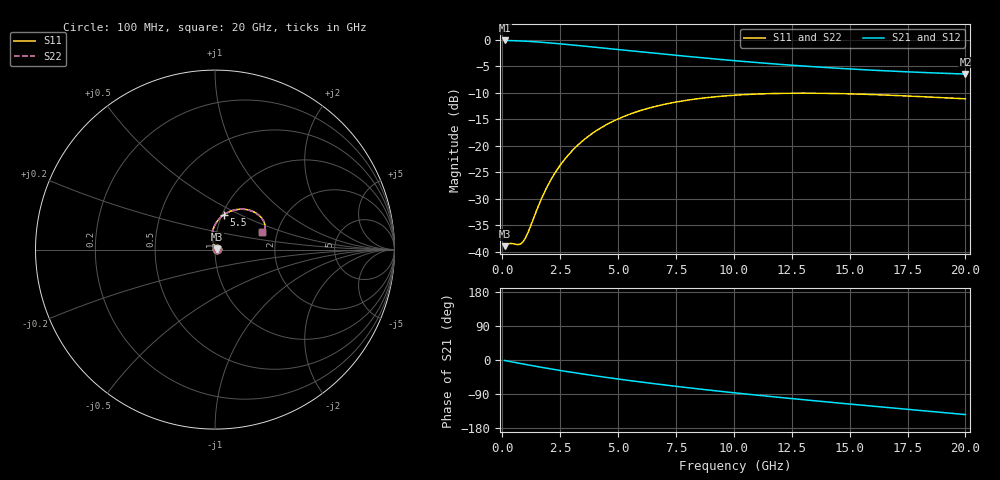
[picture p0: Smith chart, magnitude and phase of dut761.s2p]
! Touchstone file exported from HFSS 2024.1.0
!  File:  C:/UserFiles/LocalFiles/RDL_TSV_Batchsim/temp_RDL_TSV_761_1779900391.aedt
!  Generated:  01:03:55 AM May 28, 2026
!  Design:  RDL_TSV
!  Project:  temp_RDL_TSV_761_1779900391
!  Setup:  Setup1
!  Solution:  Sweep
! Variables:
!  dtsv = 6.99um
!  hbump = 3um
!  htsv = 68.48um
!  ldown = 347.83um
!  lrdl = 238.8um
!  p = 40
!  p1 = 42.31um
!  rhole = 10um
!  subl = 1998.69um
!  t = 450um
!  tdown = 4.67um
!  trdl = 2.86um
!  viad = 10um
!  wdown = 21.8um
!  wrdl = 19.24um
!  xbump = 18um
# GHz S MA R 50.000000
! Terminal data exported
! Port[1] = TM1_1_T1
! Port[2] = TM1_4_T1
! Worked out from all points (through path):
!   200 points, 100 MHz to 20 GHz, reference 50 ohm
!   highest |S21| = -0.10 dB at 100 MHz (marker M1); lowest = -6.4 dB at 20 GHz (marker M2)
!   group delay of S21, straight-line fit = 19.1 ps
!   lowest |S11| = -38.9 dB at 100 MHz (marker M3), VSWR 1.02, Z = 51.1 + j0.153 ohm
!   |S11| at or under -10 dB: start of sweep to end of sweep
!   |S22| runs from -38.9 to -10.1 dB; largest |S21 - S12| = 1e-14
!   S11 on the Smith chart (normalised r, x): 100 MHz: 1.02, +0.00; 5.5 GHz: 1.02, +0.41; 20 GHz: 1.66, +0.34
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0.1  0.01132 7.6  0.9885 -1.2  0.9885 -1.2  0.01132 7.6
! Gamma 0 0 0 0
! Port Impedance 50 0 50 0
0.3  0.01196 18.7  0.9865 -3.6  0.9865 -3.6  0.01196 18.7
0.7  0.01172 43.5  0.98 -8.3  0.98 -8.3  0.01173 43.5
0.8  0.01192 52.5  0.9779 -9.4  0.9779 -9.4  0.01193 52.4
0.9  0.01249 62.0  0.9756 -10.6  0.9756 -10.6  0.01249 61.9
1.1  0.01503 79.4  0.9703 -12.8  0.9703 -12.8  0.01502 79.2
1.5  0.02517 99.0  0.9579 -17.2  0.9579 -17.2  0.02513 98.9
1.8  0.03576 104.1  0.947 -20.5  0.947 -20.5  0.03569 104.0
2.2  0.05223 105.2  0.9313 -24.6  0.9313 -24.6  0.05212 105.1
2.5  0.06569 103.9  0.9188 -27.7  0.9188 -27.7  0.06556 103.9
2.8  0.0797 101.8  0.906 -30.6  0.906 -30.6  0.07954 101.8
3.5  0.113 95.4  0.8757 -37.2  0.8757 -37.2  0.1128 95.4
3.9  0.1318 91.4  0.8584 -40.8  0.8584 -40.8  0.1316 91.4
4.4  0.1544 86.4  0.837 -45.2  0.837 -45.2  0.1541 86.4
5.5  0.199 76.0  0.7916 -54.3  0.7916 -54.3  0.1986 76.0
6.8  0.2412 65.2  0.7414 -64.3  0.7414 -64.3  0.2408 65.1
8.3  0.2762 54.6  0.689 -75.1  0.689 -75.1  0.2757 54.6
10.1  0.3015 44.2  0.6349 -87.1  0.6349 -87.1  0.3009 44.2
11.7  0.3121 36.8  0.5946 -97.0  0.5946 -97.0  0.3115 36.8
13.4  0.3142 30.6  0.5593 -107.1  0.5593 -107.1  0.3136 30.6
16.7  0.301 22.6  0.5091 -125.7  0.5091 -125.7  0.3005 22.6
20  0.2782 20.1  0.4764 -144.0  0.4764 -144.0  0.2777 20.1
